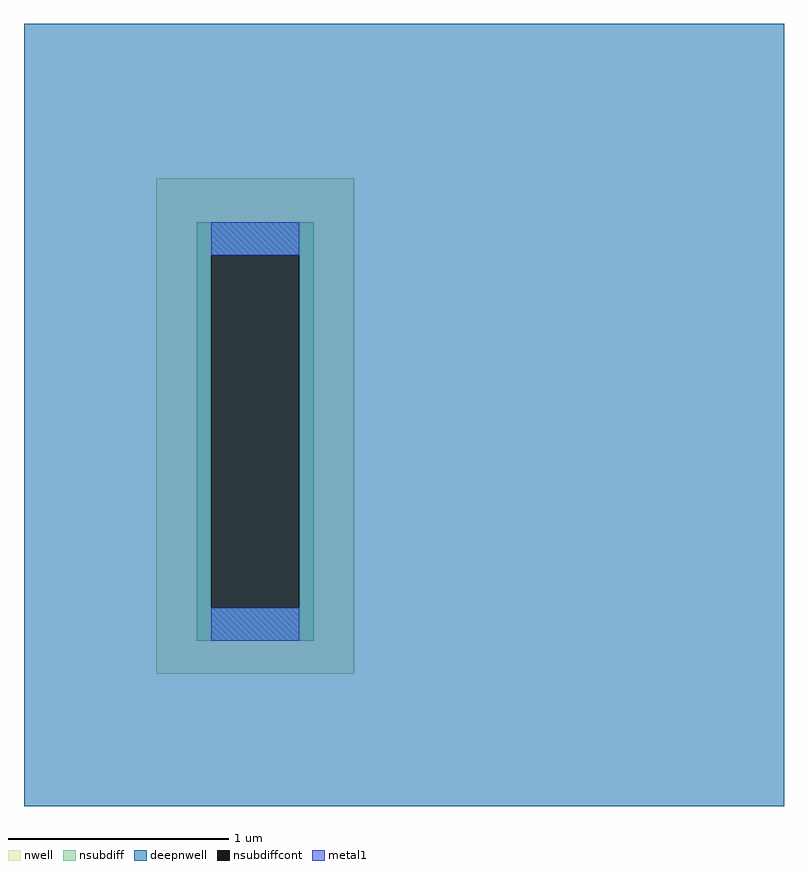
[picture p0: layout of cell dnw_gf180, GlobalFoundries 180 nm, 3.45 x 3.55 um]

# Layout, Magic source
magic
tech gf180mcuC
magscale 1 10
<< deepnwell >>
rect -120 -120 570 590
<< nwell >>
rect 0 0 180 450
<< nsubdiff >>
rect 37 380 143 410
rect 37 60 50 380
rect 130 60 143 380
rect 37 30 143 60
<< nsubdiffcont >>
rect 50 60 130 380
<< metal1 >>
rect 50 380 130 410
rect 50 30 130 60
<< end >>
